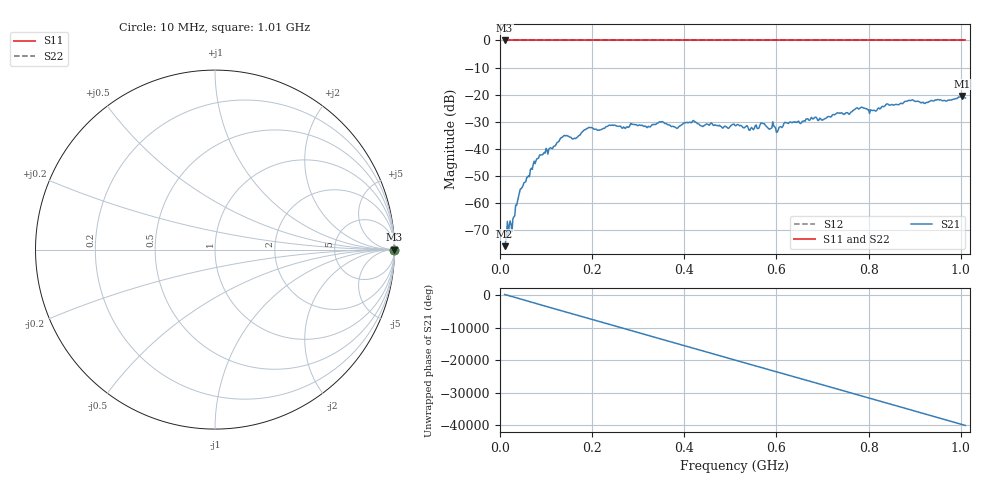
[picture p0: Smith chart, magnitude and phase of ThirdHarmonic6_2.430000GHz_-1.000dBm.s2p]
! 8/17/2025 4:12:21 AM
! C:\ANRITSUVNA\TEMP\TEMP.S2P
! CHANNEL.1
! TR.MEASUREMENT
! RAW.DATA
! RF.CORRECTION.OFF
! AVERAGING.OFF
! IF.BANDWIDTH: 5KHZ
! SWEEPTYPE:  FREQ.SWEEP(Linear)
! Reference Plane Port Info
! PORT:  PORT1  PORT2
! DISTANCE:  0  m  0  m
! TIME:  0  s  0  s
! PHASE.OFFSET:  0  deg.  0  deg.
! LOSS:  0  dB  0  dB
! REF.LOSS:  0  dB  0  dB
! REF.FREQ:  0  Hz  0  Hz
! Power Info
! POWER:  -20  dBm  -20  dBm
! EFF.POWER:  -20  dBm  -20  dBm
! SOURCE.ATTEN:  0  dB  0  dB
! TEST.ATTEN:  0  dB  0  dB
# GHZ S RI R 50.0
! FREQ.GHZ  S11RE  S11IM  S21RE  S21IM  S12RE  S12IM  S22RE  S22IM
!; PortSelection: Port_12
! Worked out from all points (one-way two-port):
!   501 points, 10 MHz to 1.01 GHz, reference 50 ohm
!   highest |S21| = -20.55 dB at 1.002 GHz (marker M1); lowest = -76.1 dB at 10 MHz (marker M2)
!   lowest |S11| = 0.0 dB at 10 MHz (marker M3)
!   |S11| at or under -10 dB: nowhere
!   |S22| runs from 0.0 to 0.0 dB; largest |S21 - S12| = 1.1
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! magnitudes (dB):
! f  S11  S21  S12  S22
! 10 MHz  0.0  -76.1  0.0  0.0
! 18 MHz  0.0  -72.8  0.0  0.0
! 28 MHz  0.0  -65.9  0.0  0.0
! 44 MHz  0.0  -54.9  0.0  0.0
! 76 MHz  0.0  -45.6  0.0  0.0
! 136 MHz  0.0  -35.7  0.0  0.0
! 162 MHz  0.0  -36.1  0.0  0.0
! 178 MHz  0.0  -33.9  0.0  0.0
! 196 MHz  0.0  -32.2  0.0  0.0
! 344 MHz  0.0  -30.4  0.0  0.0
! 382 MHz  0.0  -32.3  0.0  0.0
! 420 MHz  0.0  -29.6  0.0  0.0
! 438 MHz  0.0  -31.6  0.0  0.0
! 510 MHz  0.0  -31.4  0.0  0.0
! 546 MHz  0.0  -32.2  0.0  0.0
! 570 MHz  0.0  -30.6  0.0  0.0
! 602 MHz  0.0  -33.8  0.0  0.0
! 620 MHz  0.0  -30.4  0.0  0.0
! 678 MHz  0.0  -29.0  0.0  0.0
! 844 MHz  0.0  -23.9  0.0  0.0
! 1.002 GHz  0.0  -20.5  0.0  0.0
! 1.01 GHz  0.0  -21.3  0.0  0.0
